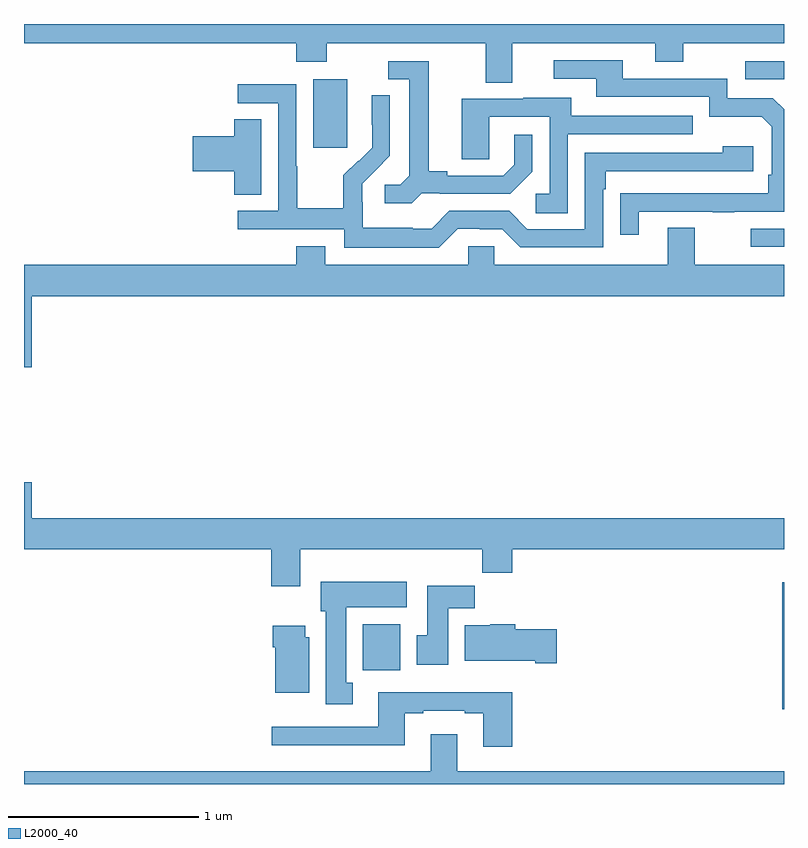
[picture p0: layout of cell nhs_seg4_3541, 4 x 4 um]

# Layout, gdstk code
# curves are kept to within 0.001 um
import gdstk
lib = gdstk.Library(unit=1e-6, precision=1e-09)
def R(c, l, rs):  # rectangles x0, y0, x1, y1
    for r in rs: c.add(gdstk.rectangle(r[:2], r[2:], *l))
def P(c, l, *ps):  # polygons
    for p in ps: c.add(gdstk.Polygon(p, *l))
L2000_40 = (2000, 40)

nhs_seg4_3541 = lib.new_cell('nhs_seg4_3541')
R(nhs_seg4_3541, L2000_40, [(300.992,813.294,301,813.961), (298.784,813.5,298.981,813.742), (300.825,815.727,301,815.823), (298.523,816.249,298.702,816.61), (300.795,816.609,301,816.705)])
P(nhs_seg4_3541, L2000_40, [(299.569,816.8),(300.323,816.8),(300.323,816.701),(300.471,816.701),(300.471,816.8),(301,816.8),(301,816.9),(297,816.9),(297,816.8),(298.433,816.8),(298.433,816.701),(298.593,816.701),(298.593,816.8),(299.429,816.8),(299.429,816.592),(299.569,816.592)],
  [(300.235,815.913),(300.625,815.913),(300.625,815.908),(300.737,815.908),(300.737,815.913),(301,815.913),(301,816.452),(300.942,816.51),(300.702,816.51),(300.702,816.612),(300.151,816.612),(300.151,816.708),(299.787,816.708),(299.787,816.612),(300.011,816.612),(300.011,816.516),(300.606,816.516),(300.606,816.413),(300.883,816.413),(300.936,816.36),(300.936,816.106),(300.916,816.106),(300.916,816.009),(300.139,816.008),(300.139,815.79),(300.235,815.79)],
  [(299.094,816.009),(299.188,816.009),(299.188,816.006),(299.56,816.006),(299.676,816.122),(299.676,816.316),(299.579,816.316),(299.579,816.159),(299.522,816.102),(299.227,816.102),(299.227,816.125),(299.131,816.125),(299.131,816.705),(298.917,816.705),(298.917,816.609),(299.027,816.609),(299.027,816.101),(298.98,816.054),(298.899,816.054),(298.899,815.957),(299.042,815.957)],
  [(299.283,815.823),(299.399,815.823),(299.399,815.82),(299.517,815.82),(299.613,815.724),(300.048,815.724),(300.048,816.029),(300.061,816.029),(300.061,816.126),(300.838,816.126),(300.838,816.256),(300.677,816.256),(300.677,816.222),(299.952,816.222),(299.952,815.82),(299.649,815.82),(299.553,815.916),(299.238,815.916),(299.145,815.823),(299.045,815.823),(299.045,815.827),(298.782,815.827),(298.782,815.961),(298.78,815.961),(298.78,816.058),(298.926,816.206),(298.926,816.524),(298.83,816.524),(298.83,816.37),(298.832,816.37),(298.832,816.248),(298.761,816.177),(298.758,816.18),(298.681,816.103),(298.681,815.929),(298.437,815.929),(298.437,816.152),(298.434,816.152),(298.434,816.582),(298.125,816.582),(298.125,816.483),(298.338,816.483),(298.338,815.916),(298.125,815.916),(298.125,815.82),(298.686,815.82),(298.686,815.723),(299.183,815.723)],
  [(299.862,816.321),(300.521,816.321),(300.521,816.417),(299.881,816.417),(299.881,816.511),(299.627,816.511),(299.627,816.507),(299.303,816.507),(299.303,816.187),(299.448,816.187),(299.448,816.411),(299.766,816.411),(299.766,816.006),(299.694,816.006),(299.694,815.905),(299.862,815.905)],
  [(298.249,816.398),(298.106,816.398),(298.106,816.308),(297.888,816.308),(297.888,816.125),(298.106,816.125),(298.106,816.001),(298.249,816.001)],
  [(297.04,815.468),(301,815.468),(301,815.632),(300.529,815.632),(300.529,815.827),(300.389,815.827),(300.389,815.632),(299.475,815.632),(299.475,815.73),(299.337,815.73),(299.337,815.632),(298.585,815.632),(298.585,815.731),(298.433,815.731),(298.433,815.632),(297,815.632),(297,815.094),(297.04,815.094)],
  [(298.453,814.136),(299.413,814.136),(299.413,814.012),(299.57,814.012),(299.57,814.136),(301,814.136),(301,814.3),(297.04,814.3),(297.04,814.489),(297,814.489),(297,814.136),(298.301,814.136),(298.301,813.942),(298.453,813.942)],
  [(298.729,813.434),(298.696,813.434),(298.696,813.83),(299.014,813.83),(299.014,813.964),(298.562,813.964),(298.562,813.81),(298.589,813.81),(298.589,813.321),(298.729,813.321)],
  [(299.233,813.824),(299.372,813.824),(299.372,813.943),(299.123,813.943),(299.123,813.684),(299.066,813.684),(299.066,813.528),(299.233,813.528)],
  [(299.803,813.714),(299.585,813.714),(299.585,813.742),(299.454,813.742),(299.454,813.736),(299.321,813.736),(299.321,813.548),(299.69,813.548),(299.69,813.536),(299.803,813.536)],
  [(298.501,813.672),(298.48,813.672),(298.48,813.733),(298.31,813.733),(298.31,813.62),(298.322,813.62),(298.322,813.38),(298.501,813.38)],
  [(299.57,813.382),(298.865,813.382),(298.865,813.201),(298.305,813.201),(298.305,813.104),(299.005,813.104),(299.005,813.273),(299.101,813.273),(299.101,813.285),(299.321,813.285),(299.321,813.273),(299.417,813.273),(299.417,813.096),(299.57,813.096)],
  [(301,812.968),(299.281,812.968),(299.281,813.163),(299.141,813.163),(299.141,812.968),(297,812.968),(297,812.9),(301,812.9)])

lib.write_gds('nhs_seg4_3541.gds')
